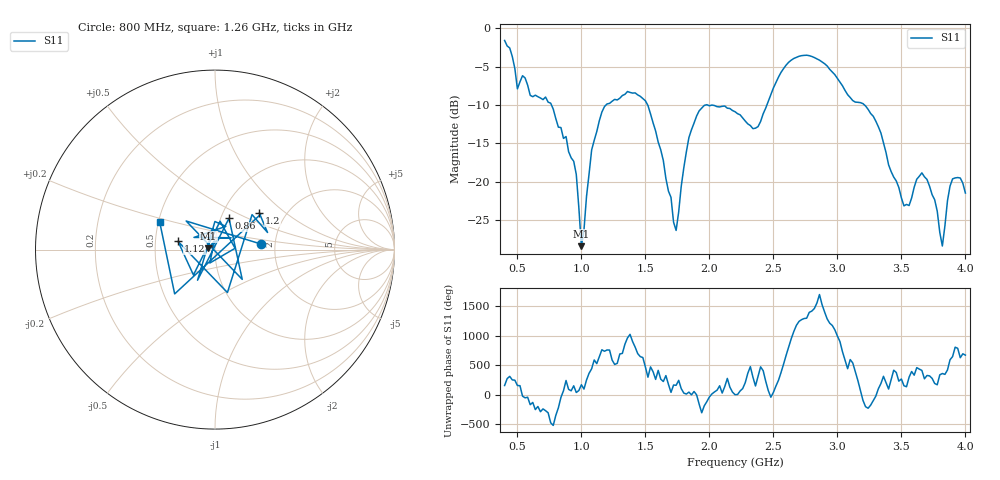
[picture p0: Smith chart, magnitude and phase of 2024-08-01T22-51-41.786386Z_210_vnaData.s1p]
!Created with skrf (http://scikit-rf.org).
# Hz S RI R 50.0
!freq ReS11 ImS11
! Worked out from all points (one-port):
!   181 points, 400 MHz to 4 GHz, reference 50 ohm
!   lowest |S11| = -28.4 dB at 1 GHz (marker M1), VSWR 1.08, Z = 46.4 + j0.719 ohm
!   |S11| at or under -10 dB: 1.517 GHz to 1.976 GHz (458.7 MHz wide, 26.3 % of centre); 1.983 GHz to 2.45 GHz (467.1 MHz wide, 21.1 % of centre); 3.21 GHz to end of sweep (the widest 3 of 4)
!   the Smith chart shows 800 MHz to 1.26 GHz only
!   S11 on the Smith chart (normalised r, x): 800 MHz: 1.68, +0.11; 860 MHz: 1.09, +0.40; 1.12 GHz: 0.66, +0.06; 1.2 GHz: 1.47, +0.67; 1.26 GHz: 0.51, +0.18
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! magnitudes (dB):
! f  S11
! 400 MHz  -1.6
! 500 MHz  -7.9
! 540 MHz  -6.2
! 800 MHz  -11.8
! 860 MHz  -14.4
! 960 MHz  -19.1
! 1 GHz  -28.4
! 1.08 GHz  -15.9
! 1.12 GHz  -13.5
! 1.2 GHz  -9.9
! 1.26 GHz  -9.3
! 1.3 GHz  -9.1
! 1.52 GHz  -10.1
! 1.72 GHz  -25.3
! 1.76 GHz  -24.0
! 1.84 GHz  -14.3
! 1.92 GHz  -10.8
! 2.2 GHz  -10.9
! 2.38 GHz  -12.8
! 2.66 GHz  -3.9
! 3.1 GHz  -9.0
! 3.28 GHz  -11.5
! 3.56 GHz  -23.1
! 3.66 GHz  -18.9
! 3.76 GHz  -22.4
! 3.82 GHz  -28.4
! 3.9 GHz  -19.7
! 4 GHz  -21.5
